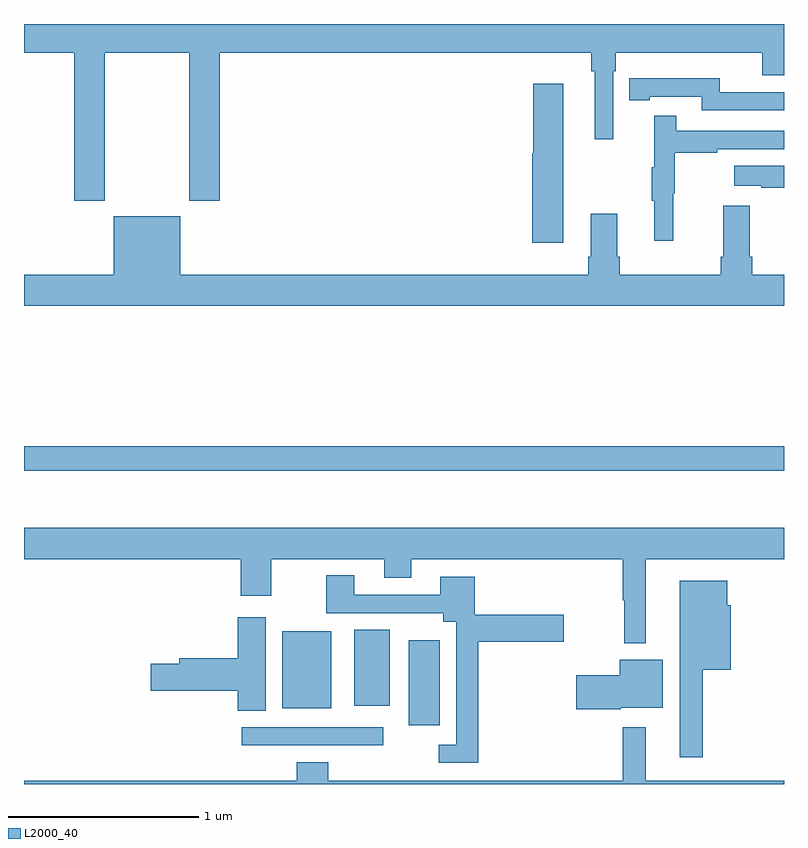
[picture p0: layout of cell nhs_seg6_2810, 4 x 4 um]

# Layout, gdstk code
import gdstk
lib = gdstk.Library(unit=1e-6, precision=1e-09)
def R(c, l, rs):  # rectangles x0, y0, x1, y1
    for r in rs: c.add(gdstk.rectangle(r[:2], r[2:], *l))
def P(c, l, *ps):  # polygons
    for p in ps: c.add(gdstk.Polygon(p, *l))
L2000_40 = (2000, 40)

nhs_seg6_2810 = lib.new_cell('nhs_seg6_2810')
R(nhs_seg6_2810, L2000_40, [(278.145,931.704,278.89,931.8), (279.026,931.809,279.187,932.257), (278.36,931.898,278.617,932.305), (278.738,931.913,278.926,932.311), (277,933.15,281,933.278)])
P(nhs_seg6_2810, L2000_40, [(277.425,935.348),(277.87,935.348),(277.87,934.569),(278.03,934.569),(278.03,935.348),(279.985,935.348),(279.985,935.252),(280.004,935.252),(280.004,934.893),(280.101,934.893),(280.101,935.252),(280.115,935.252),(280.115,935.348),(280.886,935.348),(280.886,935.231),(281,935.231),(281,935.5),(277,935.5),(277,935.348),(277.265,935.348),(277.265,934.569),(277.425,934.569)],
  [(281,935.142),(280.662,935.142),(280.662,935.215),(280.294,935.215),(280.294,935.214),(280.186,935.214),(280.186,935.098),(280.294,935.098),(280.294,935.118),(280.566,935.118),(280.566,935.046),(281,935.046)],
  [(279.838,935.185),(279.68,935.185),(279.68,934.821),(279.674,934.821),(279.674,934.35),(279.838,934.35)],
  [(280.418,934.608),(280.426,934.608),(280.426,934.822),(280.649,934.822),(280.649,934.842),(281,934.842),(281,934.938),(280.433,934.938),(280.433,935.017),(280.316,935.017),(280.316,934.745),(280.305,934.745),(280.305,934.571),(280.316,934.571),(280.316,934.359),(280.418,934.359)],
  [(281,934.753),(280.737,934.753),(280.737,934.649),(280.88,934.649),(280.88,934.639),(281,934.639)],
  [(281,934.18),(280.832,934.18),(280.832,934.276),(280.819,934.276),(280.819,934.543),(280.679,934.543),(280.679,934.276),(280.667,934.276),(280.667,934.18),(280.136,934.18),(280.136,934.276),(280.123,934.276),(280.123,934.501),(279.983,934.501),(279.983,934.276),(279.971,934.276),(279.971,934.18),(277.822,934.18),(277.822,934.489),(277.472,934.489),(277.472,934.18),(277,934.18),(277,934.016),(281,934.016)],
  [(280.273,932.684),(281,932.684),(281,932.848),(277,932.848),(277,932.684),(278.141,932.684),(278.141,932.49),(278.301,932.49),(278.301,932.684),(278.897,932.684),(278.897,932.585),(279.037,932.585),(279.037,932.684),(280.152,932.684),(280.152,932.468),(280.159,932.468),(280.159,932.24),(280.273,932.24)],
  [(279.392,932.249),(279.841,932.249),(279.841,932.391),(279.373,932.391),(279.373,932.59),(279.191,932.59),(279.191,932.496),(278.737,932.496),(278.737,932.599),(278.59,932.599),(278.59,932.4),(279.206,932.4),(279.206,932.354),(279.276,932.354),(279.276,931.707),(279.183,931.707),(279.183,931.611),(279.392,931.611)],
  [(280.573,932.102),(280.72,932.102),(280.72,932.442),(280.702,932.442),(280.702,932.569),(280.451,932.569),(280.451,931.641),(280.573,931.641)],
  [(278.272,932.377),(278.126,932.377),(278.126,932.162),(277.817,932.162),(277.817,932.132),(277.668,932.132),(277.668,931.99),(278.126,931.99),(278.126,931.885),(278.272,931.885)],
  [(280.14,931.901),(280.363,931.901),(280.363,932.155),(280.136,932.155),(280.136,932.072),(279.906,932.072),(279.906,931.894),(280.14,931.894)],
  [(281,931.516),(280.273,931.516),(280.273,931.798),(280.152,931.798),(280.152,931.516),(278.6,931.516),(278.6,931.615),(278.435,931.615),(278.435,931.516),(277,931.516),(277,931.5),(281,931.5)])

lib.write_gds('nhs_seg6_2810.gds')
